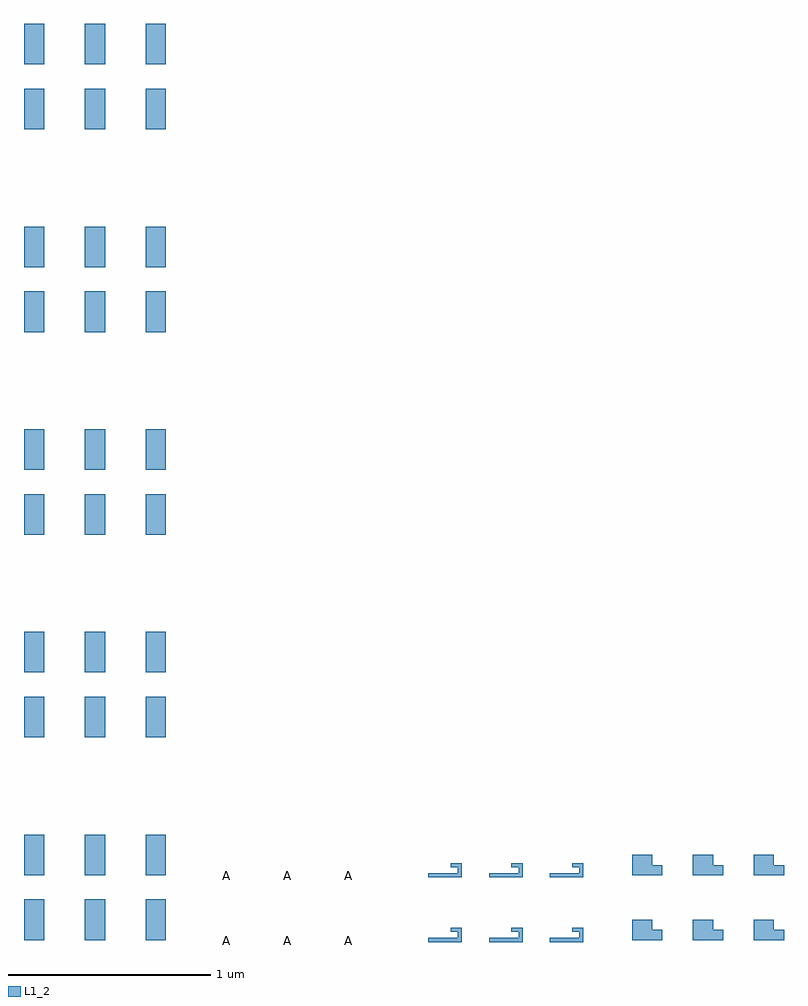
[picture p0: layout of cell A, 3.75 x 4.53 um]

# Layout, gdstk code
import gdstk
lib = gdstk.Library(unit=1e-6, precision=1e-09)
def R(c, l, rs):  # rectangles x0, y0, x1, y1
    for r in rs: c.add(gdstk.rectangle(r[:2], r[2:], *l))
def A(c, l, x, y, w, h, nx, ny, dx, dy):  # array of equal rectangles
    R(c, l, [(x+i*dx, y+j*dy, x+i*dx+w, y+j*dy+h) for i in range(nx) for j in range(ny)])
def P(c, l, *ps):  # polygons
    for p in ps: c.add(gdstk.Polygon(p, *l))
L1_2 = (1, 2)

c_a = lib.new_cell('A')
A(c_a, L1_2, 0, 0, 0.1, 0.2, 3, 2, 0.3, 0.32)
A(c_a, L1_2, 0, 1, 0.1, 0.2, 3, 2, 0.3, 0.32)
A(c_a, L1_2, 0, 2, 0.1, 0.2, 3, 2, 0.3, 0.32)
A(c_a, L1_2, 0, 3, 0.1, 0.2, 3, 2, 0.3, 0.32)
A(c_a, L1_2, 0, 4, 0.1, 0.2, 3, 2, 0.3, 0.32)
P(c_a, L1_2, [(3,0),(3.15,0),(3.15,0.05),(3.1,0.05),(3.1,0.1),(3,0.1)],
  [(3.3,0),(3.45,0),(3.45,0.05),(3.4,0.05),(3.4,0.1),(3.3,0.1)],
  [(3.6,0),(3.75,0),(3.75,0.05),(3.7,0.05),(3.7,0.1),(3.6,0.1)],
  [(3,0.32),(3.15,0.32),(3.15,0.37),(3.1,0.37),(3.1,0.42),(3,0.42)],
  [(3.3,0.32),(3.45,0.32),(3.45,0.37),(3.4,0.37),(3.4,0.42),(3.3,0.42)],
  [(3.6,0.32),(3.75,0.32),(3.75,0.37),(3.7,0.37),(3.7,0.42),(3.6,0.42)])
c_a.add(gdstk.FlexPath([(2,0),(2.15,0),(2.15,0.05),(2.1,0.05)], 0.02, ends=(0.005, -0.005), simple_path=True, layer=1, datatype=2))  # L1_2
c_a.add(gdstk.FlexPath([(2.3,0),(2.45,0),(2.45,0.05),(2.4,0.05)], 0.02, ends=(0.005, -0.005), simple_path=True, layer=1, datatype=2))  # L1_2
c_a.add(gdstk.FlexPath([(2.6,0),(2.75,0),(2.75,0.05),(2.7,0.05)], 0.02, ends=(0.005, -0.005), simple_path=True, layer=1, datatype=2))  # L1_2
c_a.add(gdstk.FlexPath([(2,0.32),(2.15,0.32),(2.15,0.37),(2.1,0.37)], 0.02, ends=(0.005, -0.005), simple_path=True, layer=1, datatype=2))  # L1_2
c_a.add(gdstk.FlexPath([(2.3,0.32),(2.45,0.32),(2.45,0.37),(2.4,0.37)], 0.02, ends=(0.005, -0.005), simple_path=True, layer=1, datatype=2))  # L1_2
c_a.add(gdstk.FlexPath([(2.6,0.32),(2.75,0.32),(2.75,0.37),(2.7,0.37)], 0.02, ends=(0.005, -0.005), simple_path=True, layer=1, datatype=2))  # L1_2
c_a.add(gdstk.Label('A', (1,0), layer=2, texttype=1))
c_a.add(gdstk.Label('A', (1.3,0), layer=2, texttype=1))
c_a.add(gdstk.Label('A', (1.6,0), layer=2, texttype=1))
c_a.add(gdstk.Label('A', (1,0.32), layer=2, texttype=1))
c_a.add(gdstk.Label('A', (1.3,0.32), layer=2, texttype=1))
c_a.add(gdstk.Label('A', (1.6,0.32), layer=2, texttype=1))

lib.write_gds('A.gds')
